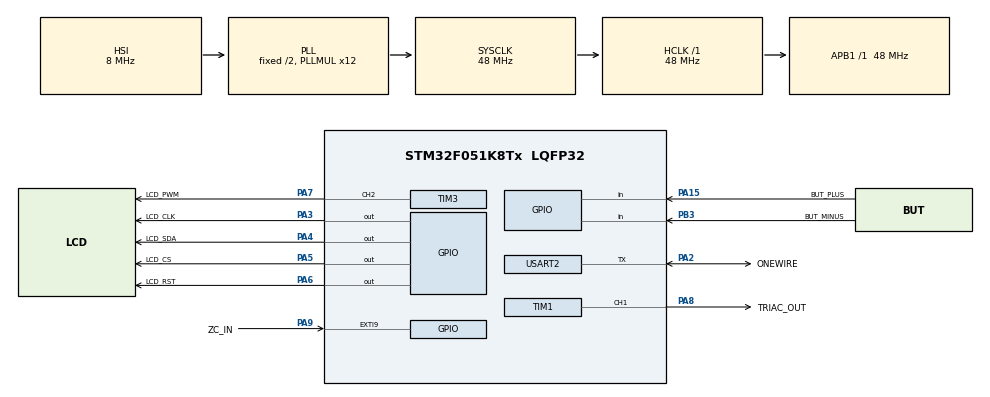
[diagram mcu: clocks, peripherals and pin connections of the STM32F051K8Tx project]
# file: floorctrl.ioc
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Dma.Request0=USART2_RX
Dma.Request1=USART2_TX
Dma.USART2_RX.0.Direction=DMA_PERIPH_TO_MEMORY
Dma.USART2_RX.0.Instance=DMA1_Channel5
Dma.USART2_RX.0.MemDataAlignment=DMA_MDATAALIGN_BYTE
Dma.USART2_RX.0.MemInc=DMA_MINC_ENABLE
Dma.USART2_RX.0.Mode=DMA_NORMAL
Dma.USART2_RX.0.PeriphDataAlignment=DMA_PDATAALIGN_BYTE
Dma.USART2_RX.0.PeriphInc=DMA_PINC_DISABLE
Dma.USART2_RX.0.Priority=DMA_PRIORITY_LOW
Dma.USART2_TX.1.Direction=DMA_MEMORY_TO_PERIPH
Dma.USART2_TX.1.Instance=DMA1_Channel4
Dma.USART2_TX.1.MemDataAlignment=DMA_MDATAALIGN_BYTE
Dma.USART2_TX.1.MemInc=DMA_MINC_ENABLE
Dma.USART2_TX.1.Mode=DMA_NORMAL
Dma.USART2_TX.1.PeriphDataAlignment=DMA_PDATAALIGN_BYTE
Dma.USART2_TX.1.PeriphInc=DMA_PINC_DISABLE
Dma.USART2_TX.1.Priority=DMA_PRIORITY_LOW
FREERTOS.Tasks01=defaultTask,0,128,StartDefaultTask,Default,NULL
FREERTOS.configTOTAL_HEAP_SIZE=5000
Mcu.Family=STM32F0
Mcu.Name=STM32F051K8Tx
Mcu.Package=LQFP32
NVIC.DMA1_Channel4_5_IRQn=true\:3\:0\:false\:false\:true\:true\:false
NVIC.EXTI4_15_IRQn=true\:3\:0\:false\:false\:true\:true\:true
PA13.Mode=Serial_Wire
PA13.Signal=SYS_SWDIO
PA14.Mode=Serial_Wire
PA14.Signal=SYS_SWCLK
PA15.GPIO_Label=BUT_PLUS
PA15.GPIO_PuPd=GPIO_PULLUP
PA15.Signal=GPIO_Input
PA2.GPIO_Label=ONEWIRE
PA2.Mode=Half_duplex(single_wire_mode)
PA2.Signal=USART2_TX
PA3.GPIO_Label=LCD_CLK
PA3.Signal=GPIO_Output
PA4.GPIO_Label=LCD_SDA
PA4.Signal=GPIO_Output
PA5.GPIO_Label=LCD_CS
PA5.Signal=GPIO_Output
PA6.GPIO_Label=LCD_RST
PA6.Signal=GPIO_Output
PA7.GPIO_Label=LCD_PWM
PA7.Signal=S_TIM3_CH2
PA8.GPIO_Label=TRIAC_OUT
PA8.Signal=S_TIM1_CH1
PA9.GPIO_Label=ZC_IN
PA9.GPIO_PuPd=GPIO_PULLUP
PA9.Signal=GPXTI9
PB3.GPIO_Label=BUT_MINUS
PB3.GPIO_PuPd=GPIO_PULLUP
PB3.Signal=GPIO_Input
ProjectManager.HeapSize=0x200
ProjectManager.StackSize=0x400
ProjectManager.TargetToolchain=EWARM
RCC.AHBFreq_Value=48000000
RCC.APB1Freq_Value=48000000
RCC.APB1TimFreq_Value=48000000
RCC.HCLKFreq_Value=48000000
RCC.PLLMUL=RCC_PLL_MUL12
RCC.SYSCLKFreq_VALUE=48000000
RCC.SYSCLKSource=RCC_SYSCLKSOURCE_PLLCLK
SH.S_TIM1_CH1.0=TIM1_CH1,PWM Generation1 CH1
SH.S_TIM3_CH2.0=TIM3_CH2,PWM Generation2 CH2
TIM1.AutoReloadPreload=TIM_AUTORELOAD_PRELOAD_ENABLE
TIM1.Channel-PWM\ Generation1\ CH1=TIM_CHANNEL_1
TIM1.Period=11000
TIM1.Prescaler=48
TIM3.Channel-PWM\ Generation2\ CH2=TIM_CHANNEL_2
TIM3.Period=256
TIM3.Prescaler=48
TIM3.Pulse-PWM\ Generation2\ CH2=100
USART2.BaudRate=9600
USART2.VirtualMode-Half_duplex(single_wire_mode)=VM_ASYNC
VP_FREERTOS_VS_ENABLE.Mode=Enabled
VP_IWDG_VS_IWDG.Mode=IWDG_Activate
VP_TIM1_VS_ClockSourceINT.Mode=Internal
VP_TIM3_VS_ClockSourceINT.Mode=Internal
board=floorctrl

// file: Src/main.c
/**
  ******************************************************************************
  * @file           : main.c
  * @brief          : Main program body
  ******************************************************************************
  * This notice applies to any and all portions of this file
  * that are not between comment pairs USER CODE BEGIN and
  * USER CODE END. Other portions of this file, whether
  * inserted by the user or by software development tools
  * are owned by their respective copyright owners.
  *
  * Copyright (c) 2018 STMicroelectronics International N.V.
  * All rights reserved.
  *
  * Redistribution and use in source and binary forms, with or without
  * modification, are permitted, provided that the following conditions are met:
  *
  * 1. Redistribution of source code must retain the above copyright notice,
  *    this list of conditions and the following disclaimer.
  * 2. Redistributions in binary form must reproduce the above copyright notice,
  *    this list of conditions and the following disclaimer in the documentation
  *    and/or other materials provided with the distribution.
  * 3. Neither the name of STMicroelectronics nor the names of other
  *    contributors to this software may be used to endorse or promote products
  *    derived from this software without specific written permission.
  * 4. This software, including modifications and/or derivative works of this
  *    software, must execute solely and exclusively on microcontroller or
  *    microprocessor devices manufactured by or for STMicroelectronics.
  * 5. Redistribution and use of this software other than as permitted under
  *    this license is void and will automatically terminate your rights under
  *    this license.
  *
  * THIS SOFTWARE IS PROVIDED BY STMICROELECTRONICS AND CONTRIBUTORS "AS IS"
  * AND ANY EXPRESS, IMPLIED OR STATUTORY WARRANTIES, INCLUDING, BUT NOT
  * LIMITED TO, THE IMPLIED WARRANTIES OF MERCHANTABILITY, FITNESS FOR A
  * PARTICULAR PURPOSE AND NON-INFRINGEMENT OF THIRD PARTY INTELLECTUAL PROPERTY
  * RIGHTS ARE DISCLAIMED TO THE FULLEST EXTENT PERMITTED BY LAW. IN NO EVENT
  * SHALL STMICROELECTRONICS OR CONTRIBUTORS BE LIABLE FOR ANY DIRECT, INDIRECT,
  * INCIDENTAL, SPECIAL, EXEMPLARY, OR CONSEQUENTIAL DAMAGES (INCLUDING, BUT NOT
  * LIMITED TO, PROCUREMENT OF SUBSTITUTE GOODS OR SERVICES; LOSS OF USE, DATA,
  * OR PROFITS; OR BUSINESS INTERRUPTION) HOWEVER CAUSED AND ON ANY THEORY OF
  * LIABILITY, WHETHER IN CONTRACT, STRICT LIABILITY, OR TORT (INCLUDING
  * NEGLIGENCE OR OTHERWISE) ARISING IN ANY WAY OUT OF THE USE OF THIS SOFTWARE,
  * EVEN IF ADVISED OF THE POSSIBILITY OF SUCH DAMAGE.
  *
  ******************************************************************************
  */
#include "main.h"
#include "stm32f0xx_hal.h"
#include "cmsis_os.h"

/* USER CODE BEGIN Includes */
#include "onewire.h"
#include "lcd-nokia1100.h"
#include "eeprom.h"
#include "PID.h"
#include "driverButton.h"
#include "math.h"
#include "stdlib.h"
/* USER CODE END Includes */

IWDG_HandleTypeDef hiwdg;

TIM_HandleTypeDef htim1;
TIM_HandleTypeDef htim3;

UART_HandleTypeDef huart2;
DMA_HandleTypeDef hdma_usart2_rx;
DMA_HandleTypeDef hdma_usart2_tx;

osThreadId defaultTaskHandle;

/* USER CODE BEGIN PV */
/* Private variables ---------------------------------------------------------*/
osThreadId startpwmdemo;
osThreadId interfacetask;
osThreadId displaytask;
/* USER CODE END PV */

void SystemClock_Config(void);
static void MX_GPIO_Init(void);
static void MX_DMA_Init(void);
static void MX_TIM1_Init(void);
static void MX_USART2_UART_Init(void);
static void MX_TIM3_Init(void);
static void MX_IWDG_Init(void);
void StartDefaultTask(void const * argument);
void HAL_TIM_MspPostInit(TIM_HandleTypeDef *htim);

/* USER CODE BEGIN PFP */
/* Private function prototypes -----------------------------------------------*/
__IO uint32_t Triac_angle = 3000;
 float Temperature = 255.0f;
 float Power = 0;
 float Setpoint = 20.0;
 uint8_t nErrors = 0xFF;
 uint8_t Standby = 1;

uint16_t eeSetpoint;
uint16_t eeStandby;

uint16_t VirtAddVarTab[NB_OF_VAR] = {0x5555, 0x6666, 0x7777};
uint16_t VarDataTab[NB_OF_VAR] = {0, 0, 0};
uint16_t VarValue = 0;

// PID controllers
struct pid_controller pidctrl;
pid_t pid = 0;
/* USER CODE END PFP */

/* USER CODE BEGIN 0 */
void StartPwmDemo(void const * argument);
void InterfaceTask (void const * argument);
void DisplayTask(void const * argument);

#define LOWER_LIMIT 0
void HAL_GPIO_EXTI_Callback(uint16_t GPIO_Pin)
{

  if(GPIO_Pin== GPIO_PIN_9)
  {

  __HAL_TIM_SET_COUNTER(&htim1, Triac_angle);

  if (Triac_angle == 900)
    __HAL_TIM_SET_COMPARE(&htim1, TIM_CHANNEL_1, 0);
  else
    __HAL_TIM_SET_COMPARE(&htim1, TIM_CHANNEL_1, 50);

  }

}
/* USER CODE END 0 */

int main(void)
{

  /* MCU Configuration----------------------------------------------------------*/

  /* Reset of all peripherals, Initializes the Flash interface and the Systick. */
  HAL_Init();

  /* USER CODE BEGIN Init */
  HAL_FLASH_Unlock();
  /* EEPROM Init */
  EE_Init();

  EE_ReadVariable(VirtAddVarTab[0], &eeSetpoint);
  EE_ReadVariable(VirtAddVarTab[1], &eeStandby);

  if (eeSetpoint > 15 && eeSetpoint < 26)
  {
    Setpoint = eeSetpoint;
  } else
  {
    EE_WriteVariable(VirtAddVarTab[0], 20);
  }

  if (eeStandby > 1)
  {
    EE_WriteVariable(VirtAddVarTab[1], 0);
  } else
  {
    //Standby = eeStandby;
  }

  /* USER CODE END Init */

  /* Configure the system clock */
  SystemClock_Config();

  /* Initialize all configured peripherals */
  MX_GPIO_Init();
  MX_DMA_Init();
  MX_TIM1_Init();
  MX_USART2_UART_Init();
  MX_TIM3_Init();
  MX_IWDG_Init();
  /* USER CODE BEGIN 2 */
  HAL_TIM_Base_Start(&htim1);
  HAL_TIM_PWM_Start(&htim1, TIM_CHANNEL_1);

  HAL_TIM_Base_Start(&htim3);
  HAL_TIM_PWM_Start(&htim3, TIM_CHANNEL_2);

  OW_Init();
  /* USER CODE END 2 */

  /* Create the thread(s) */
  /* definition and creation of defaultTask */
  osThreadDef(defaultTask, StartDefaultTask, osPriorityNormal, 0, 128);
  defaultTaskHandle = osThreadCreate(osThread(defaultTask), NULL);

  /* USER CODE BEGIN RTOS_THREADS */
  /* add threads, ... */
  osThreadDef(startpwmDemo, StartPwmDemo, osPriorityNormal, 0, 128);
  startpwmdemo = osThreadCreate(osThread(startpwmDemo), NULL);

  initButton();

  osThreadDef(interfaceTask, InterfaceTask, osPriorityNormal, 0, 128);
  interfacetask = osThreadCreate(osThread(interfaceTask), NULL);

  osThreadDef(displayTask, DisplayTask, osPriorityLow, 0, 256);
  displaytask = osThreadCreate(osThread(displayTask), NULL);
  /* USER CODE END RTOS_THREADS */

  /* Start scheduler */
  osKernelStart();

  /* We should never get here as control is now taken by the scheduler */

  /* Infinite loop */
  while (1)
  {

  }

}

void SystemClock_Config(void)
{

  RCC_OscInitTypeDef RCC_OscInitStruct;
  RCC_ClkInitTypeDef RCC_ClkInitStruct;

    /**Initializes the CPU, AHB and APB busses clocks
    */
  RCC_OscInitStruct.OscillatorType = RCC_OSCILLATORTYPE_HSI|RCC_OSCILLATORTYPE_LSI;
  RCC_OscInitStruct.HSIState = RCC_HSI_ON;
  RCC_OscInitStruct.HSICalibrationValue = 16;
  RCC_OscInitStruct.LSIState = RCC_LSI_ON;
  RCC_OscInitStruct.PLL.PLLState = RCC_PLL_ON;
  RCC_OscInitStruct.PLL.PLLSource = RCC_PLLSOURCE_HSI;
  RCC_OscInitStruct.PLL.PLLMUL = RCC_PLL_MUL12;
  RCC_OscInitStruct.PLL.PREDIV = RCC_PREDIV_DIV1;
  if (HAL_RCC_OscConfig(&RCC_OscInitStruct) != HAL_OK)
  {
    _Error_Handler(__FILE__, __LINE__);
  }

    /**Initializes the CPU, AHB and APB busses clocks
    */
  RCC_ClkInitStruct.ClockType = RCC_CLOCKTYPE_HCLK|RCC_CLOCKTYPE_SYSCLK
                              |RCC_CLOCKTYPE_PCLK1;
  RCC_ClkInitStruct.SYSCLKSource = RCC_SYSCLKSOURCE_PLLCLK;
  RCC_ClkInitStruct.AHBCLKDivider = RCC_SYSCLK_DIV1;
  RCC_ClkInitStruct.APB1CLKDivider = RCC_HCLK_DIV1;

  if (HAL_RCC_ClockConfig(&RCC_ClkInitStruct, FLASH_LATENCY_1) != HAL_OK)
  {
    _Error_Handler(__FILE__, __LINE__);
  }

    /**Configure the Systick interrupt time
    */
  HAL_SYSTICK_Config(HAL_RCC_GetHCLKFreq()/1000);

    /**Configure the Systick
    */
  HAL_SYSTICK_CLKSourceConfig(SYSTICK_CLKSOURCE_HCLK);

  /* SysTick_IRQn interrupt configuration */
  HAL_NVIC_SetPriority(SysTick_IRQn, 3, 0);
}

/* IWDG init function */
static void MX_IWDG_Init(void)
{

  hiwdg.Instance = IWDG;
  hiwdg.Init.Prescaler = IWDG_PRESCALER_128;
  hiwdg.Init.Window = 4095;
  hiwdg.Init.Reload = 4095;
  if (HAL_IWDG_Init(&hiwdg) != HAL_OK)
  {
    _Error_Handler(__FILE__, __LINE__);
  }

}

/* TIM1 init function */
static void MX_TIM1_Init(void)
{

  TIM_ClockConfigTypeDef sClockSourceConfig;
  TIM_MasterConfigTypeDef sMasterConfig;
  TIM_OC_InitTypeDef sConfigOC;
  TIM_BreakDeadTimeConfigTypeDef sBreakDeadTimeConfig;

  htim1.Instance = TIM1;
  htim1.Init.Prescaler = 48;
  htim1.Init.CounterMode = TIM_COUNTERMODE_UP;
  htim1.Init.Period = 11000;
  htim1.Init.ClockDivision = TIM_CLOCKDIVISION_DIV1;
  htim1.Init.RepetitionCounter = 0;
  htim1.Init.AutoReloadPreload = TIM_AUTORELOAD_PRELOAD_ENABLE;
  if (HAL_TIM_Base_Init(&htim1) != HAL_OK)
  {
    _Error_Handler(__FILE__, __LINE__);
  }

  sClockSourceConfig.ClockSource = TIM_CLOCKSOURCE_INTERNAL;
  if (HAL_TIM_ConfigClockSource(&htim1, &sClockSourceConfig) != HAL_OK)
  {
    _Error_Handler(__FILE__, __LINE__);
  }

  if (HAL_TIM_PWM_Init(&htim1) != HAL_OK)
  {
    _Error_Handler(__FILE__, __LINE__);
  }

  sMasterConfig.MasterOutputTrigger = TIM_TRGO_RESET;
  sMasterConfig.MasterSlaveMode = TIM_MASTERSLAVEMODE_DISABLE;
  if (HAL_TIMEx_MasterConfigSynchronization(&htim1, &sMasterConfig) != HAL_OK)
  {
    _Error_Handler(__FILE__, __LINE__);
  }

  sConfigOC.OCMode = TIM_OCMODE_PWM1;
  sConfigOC.Pulse = 0;
  sConfigOC.OCPolarity = TIM_OCPOLARITY_HIGH;
  sConfigOC.OCNPolarity = TIM_OCNPOLARITY_HIGH;
  sConfigOC.OCFastMode = TIM_OCFAST_DISABLE;
  sConfigOC.OCIdleState = TIM_OCIDLESTATE_RESET;
  sConfigOC.OCNIdleState = TIM_OCNIDLESTATE_RESET;
  if (HAL_TIM_PWM_ConfigChannel(&htim1, &sConfigOC, TIM_CHANNEL_1) != HAL_OK)
  {
    _Error_Handler(__FILE__, __LINE__);
  }

  sBreakDeadTimeConfig.OffStateRunMode = TIM_OSSR_DISABLE;
  sBreakDeadTimeConfig.OffStateIDLEMode = TIM_OSSI_DISABLE;
  sBreakDeadTimeConfig.LockLevel = TIM_LOCKLEVEL_OFF;
  sBreakDeadTimeConfig.DeadTime = 0;
  sBreakDeadTimeConfig.BreakState = TIM_BREAK_DISABLE;
  sBreakDeadTimeConfig.BreakPolarity = TIM_BREAKPOLARITY_HIGH;
  sBreakDeadTimeConfig.AutomaticOutput = TIM_AUTOMATICOUTPUT_DISABLE;
  if (HAL_TIMEx_ConfigBreakDeadTime(&htim1, &sBreakDeadTimeConfig) != HAL_OK)
  {
    _Error_Handler(__FILE__, __LINE__);
  }

  HAL_TIM_MspPostInit(&htim1);

}

/* TIM3 init function */
static void MX_TIM3_Init(void)
{

  TIM_ClockConfigTypeDef sClockSourceConfig;
  TIM_MasterConfigTypeDef sMasterConfig;
  TIM_OC_InitTypeDef sConfigOC;

  htim3.Instance = TIM3;
  htim3.Init.Prescaler = 48;
  htim3.Init.CounterMode = TIM_COUNTERMODE_UP;
  htim3.Init.Period = 256;
  htim3.Init.ClockDivision = TIM_CLOCKDIVISION_DIV1;
  htim3.Init.AutoReloadPreload = TIM_AUTORELOAD_PRELOAD_DISABLE;
  if (HAL_TIM_Base_Init(&htim3) != HAL_OK)
  {
    _Error_Handler(__FILE__, __LINE__);
  }

  sClockSourceConfig.ClockSource = TIM_CLOCKSOURCE_INTERNAL;
  if (HAL_TIM_ConfigClockSource(&htim3, &sClockSourceConfig) != HAL_OK)
  {
    _Error_Handler(__FILE__, __LINE__);
  }

  if (HAL_TIM_PWM_Init(&htim3) != HAL_OK)
  {
    _Error_Handler(__FILE__, __LINE__);
  }

  sMasterConfig.MasterOutputTrigger = TIM_TRGO_RESET;
  sMasterConfig.MasterSlaveMode = TIM_MASTERSLAVEMODE_DISABLE;
  if (HAL_TIMEx_MasterConfigSynchronization(&htim3, &sMasterConfig) != HAL_OK)
  {
    _Error_Handler(__FILE__, __LINE__);
  }

  sConfigOC.OCMode = TIM_OCMODE_PWM1;
  sConfigOC.Pulse = 0;
  sConfigOC.OCPolarity = TIM_OCPOLARITY_HIGH;
  sConfigOC.OCFastMode = TIM_OCFAST_DISABLE;
  if (HAL_TIM_PWM_ConfigChannel(&htim3, &sConfigOC, TIM_CHANNEL_2) != HAL_OK)
  {
    _Error_Handler(__FILE__, __LINE__);
  }

  HAL_TIM_MspPostInit(&htim3);

}

/* USART2 init function */
static void MX_USART2_UART_Init(void)
{

  huart2.Instance = USART2;
  huart2.Init.BaudRate = 9600;
  huart2.Init.WordLength = UART_WORDLENGTH_8B;
  huart2.Init.StopBits = UART_STOPBITS_1;
  huart2.Init.Parity = UART_PARITY_NONE;
  huart2.Init.Mode = UART_MODE_TX_RX;
  huart2.Init.HwFlowCtl = UART_HWCONTROL_NONE;
  huart2.Init.OverSampling = UART_OVERSAMPLING_16;
  huart2.Init.OneBitSampling = UART_ONE_BIT_SAMPLE_DISABLE;
  huart2.AdvancedInit.AdvFeatureInit = UART_ADVFEATURE_NO_INIT;
  if (HAL_HalfDuplex_Init(&huart2) != HAL_OK)
  {
    _Error_Handler(__FILE__, __LINE__);
  }

}

static void MX_DMA_Init(void)
{
  /* DMA controller clock enable */
  __HAL_RCC_DMA1_CLK_ENABLE();

  /* DMA interrupt init */
  /* DMA1_Channel4_5_IRQn interrupt configuration */
  HAL_NVIC_SetPriority(DMA1_Channel4_5_IRQn, 3, 0);
  HAL_NVIC_EnableIRQ(DMA1_Channel4_5_IRQn);

}

/** Configure pins as
        * Analog
        * Input
        * Output
        * EVENT_OUT
        * EXTI
*/
static void MX_GPIO_Init(void)
{

  GPIO_InitTypeDef GPIO_InitStruct;

  /* GPIO Ports Clock Enable */
  __HAL_RCC_GPIOA_CLK_ENABLE();
  __HAL_RCC_GPIOB_CLK_ENABLE();

  /*Configure GPIO pin Output Level */
  HAL_GPIO_WritePin(GPIOA, LCD_CLK_Pin|LCD_SDA_Pin|LCD_CS_Pin|LCD_RST_Pin, GPIO_PIN_SET);

  /*Configure GPIO pins : LCD_CLK_Pin LCD_SDA_Pin LCD_CS_Pin LCD_RST_Pin */
  GPIO_InitStruct.Pin = LCD_CLK_Pin|LCD_SDA_Pin|LCD_CS_Pin|LCD_RST_Pin;
  GPIO_InitStruct.Mode = GPIO_MODE_OUTPUT_PP;
  GPIO_InitStruct.Pull = GPIO_NOPULL;
  GPIO_InitStruct.Speed = GPIO_SPEED_FREQ_LOW;
  HAL_GPIO_Init(GPIOA, &GPIO_InitStruct);

  /*Configure GPIO pin : ZC_IN_Pin */
  GPIO_InitStruct.Pin = ZC_IN_Pin;
  GPIO_InitStruct.Mode = GPIO_MODE_IT_RISING;
  GPIO_InitStruct.Pull = GPIO_PULLUP;
  HAL_GPIO_Init(ZC_IN_GPIO_Port, &GPIO_InitStruct);

  /*Configure GPIO pin : BUT_PLUS_Pin */
  GPIO_InitStruct.Pin = BUT_PLUS_Pin;
  GPIO_InitStruct.Mode = GPIO_MODE_INPUT;
  GPIO_InitStruct.Pull = GPIO_PULLUP;
  HAL_GPIO_Init(BUT_PLUS_GPIO_Port, &GPIO_InitStruct);

  /*Configure GPIO pin : BUT_MINUS_Pin */
  GPIO_InitStruct.Pin = BUT_MINUS_Pin;
  GPIO_InitStruct.Mode = GPIO_MODE_INPUT;
  GPIO_InitStruct.Pull = GPIO_PULLUP;
  HAL_GPIO_Init(BUT_MINUS_GPIO_Port, &GPIO_InitStruct);

  /* EXTI interrupt init*/
  HAL_NVIC_SetPriority(EXTI4_15_IRQn, 3, 0);
  HAL_NVIC_EnableIRQ(EXTI4_15_IRQn);

}

/* USER CODE BEGIN 4 */
const uint8_t troll[] =
{
0x00, 0x00, 0x00, 0x00, 0x00, 0x00, 0x00, 0x00, 0x00, 0x00, 0x00, 0x00, 0x00, 0x00, 0x00, 0x00,
0x00, 0x00, 0x00, 0x00, 0x00, 0x00, 0x00, 0x00, 0x80, 0x80, 0xC0, 0xC0, 0xC0, 0xC0, 0x60, 0x60,
0xE0, 0xE0, 0x60, 0xF0, 0xF0, 0xB0, 0xB0, 0xB0, 0xB0, 0xB0, 0xB0, 0x30, 0x70, 0x70, 0x70, 0x70,
0x70, 0x70, 0x70, 0x70, 0x50, 0x50, 0x50, 0x50, 0x10, 0xB0, 0xB0, 0x30, 0x30, 0x30, 0x30, 0x30,
0x30, 0x30, 0x30, 0x30, 0x60, 0xE0, 0xC0, 0x80, 0x00, 0x00, 0x00, 0x00, 0x00, 0x00, 0x00, 0x00,
0x00, 0x00, 0x00, 0x00, 0x00, 0x00, 0x00, 0x00, 0x00, 0x00, 0x00, 0x00, 0x00, 0x00, 0x00, 0x00,
0x00, 0x00, 0x00, 0x00, 0x00, 0x00, 0x00, 0x00, 0x00, 0x00, 0x00, 0x00, 0x00, 0x00, 0x00, 0x00,
0x00, 0xF0, 0xF8, 0x1C, 0x0E, 0x06, 0x03, 0x03, 0x01, 0x41, 0x22, 0x12, 0x10, 0x02, 0x0A, 0x0A,
0x0A, 0x0A, 0x0A, 0x0A, 0x52, 0x12, 0x02, 0x02, 0x02, 0x02, 0x02, 0x02, 0x00, 0x01, 0x61, 0x11,
0x01, 0x01, 0x05, 0x05, 0x05, 0x85, 0x81, 0x8A, 0x8A, 0x8A, 0x04, 0x15, 0x19, 0x2A, 0x52, 0x14,
0x28, 0x48, 0x10, 0x00, 0x00, 0x00, 0x01, 0x03, 0x0F, 0x3C, 0xF8, 0xC0, 0x00, 0x00, 0x00, 0x00,
0x00, 0x00, 0x00, 0x00, 0x00, 0x00, 0x00, 0x00, 0x00, 0x00, 0x00, 0x00, 0x00, 0x00, 0x00, 0x00,
0x00, 0x00, 0x00, 0x00, 0x00, 0x00, 0x00, 0x00, 0x00, 0x00, 0x00, 0x80, 0xE0, 0xF0, 0xB8, 0x5C,
0xAF, 0x53, 0x51, 0x80, 0x80, 0x80, 0x88, 0x88, 0x80, 0x00, 0x0C, 0x1C, 0x1E, 0x1E, 0x1E, 0x1E,
0x1E, 0x1C, 0x3C, 0x3C, 0xF8, 0xF0, 0x30, 0x30, 0x10, 0x00, 0x00, 0x00, 0x00, 0x18, 0x3C, 0x7E,
0x66, 0x33, 0x33, 0x3B, 0x19, 0x1F, 0x1F, 0x3F, 0xFF, 0xCF, 0x9F, 0x9F, 0x9F, 0x1E, 0x1C, 0x98,
0x80, 0x88, 0xD8, 0xC8, 0xE0, 0x60, 0x60, 0x60, 0x68, 0x68, 0xC8, 0xCB, 0x9F, 0x1E, 0x3C, 0x18,
0x30, 0xE0, 0xC0, 0x80, 0x00, 0x00, 0x00, 0x00, 0x00, 0x00, 0x00, 0x00, 0x00, 0x00, 0x00, 0x00,
0x00, 0x00, 0x00, 0x00, 0x00, 0x00, 0x00, 0x00, 0x00, 0x00, 0x00, 0x03, 0x1F, 0x7F, 0xFF, 0xE0,
0x4F, 0x50, 0x81, 0x01, 0xC1, 0xF1, 0xFD, 0xF9, 0x83, 0x07, 0x07, 0x06, 0x47, 0x43, 0x20, 0x30,
0x70, 0x78, 0x7C, 0xCE, 0x87, 0x07, 0x00, 0x80, 0x00, 0x00, 0x40, 0x60, 0x60, 0x60, 0x68, 0x4C,
0x8C, 0xF8, 0xF8, 0x08, 0x10, 0x10, 0x90, 0x90, 0x90, 0xC0, 0xC1, 0xC1, 0xE1, 0xE1, 0xE1, 0xF1,
0x31, 0x39, 0x19, 0x1C, 0x8C, 0xCE, 0xFF, 0xFC, 0x18, 0x18, 0x30, 0x41, 0x7F, 0x3F, 0x00, 0xC0,
0x00, 0x80, 0xFF, 0x7F, 0x00, 0x00, 0x00, 0x00, 0x00, 0x00, 0x00, 0x00, 0x00, 0x00, 0x00, 0x00,
0x00, 0x00, 0x00, 0x00, 0x00, 0x00, 0x00, 0x00, 0x00, 0x00, 0x00, 0x00, 0x00, 0x00, 0x01, 0x3F,
0xFE, 0x00, 0x00, 0x18, 0xFF, 0xFF, 0xFF, 0xE3, 0xFF, 0xFF, 0xC7, 0xC6, 0xFE, 0xFC, 0xCC, 0x8C,
0x8C, 0x8C, 0x98, 0xF9, 0xF9, 0x9B, 0x9B, 0x99, 0x8C, 0x8C, 0xFC, 0xFC, 0x8C, 0x8C, 0x8C, 0x86,
0xC6, 0xC6, 0xC6, 0xFF, 0xFF, 0xE3, 0xF1, 0xF1, 0x71, 0x71, 0x38, 0x38, 0x3C, 0x7E, 0xFF, 0x9F,
0xC6, 0xE6, 0x77, 0x3F, 0x0F, 0x07, 0x01, 0x00, 0x00, 0x00, 0x00, 0xC0, 0xF0, 0x38, 0x1D, 0x0E,
0x07, 0x03, 0x01, 0x00, 0x00, 0x00, 0x00, 0x00, 0x00, 0x00, 0x00, 0x00, 0x00, 0x00, 0x00, 0x00,
0x00, 0x00, 0x00, 0x00, 0x00, 0x00, 0x00, 0x00, 0x00, 0x00, 0x00, 0x00, 0x00, 0x00, 0x00, 0xFC,
0xFF, 0x00, 0x00, 0x00, 0x07, 0x3F, 0x7F, 0xFF, 0xFF, 0xD7, 0xDF, 0xFF, 0xEF, 0x8F, 0x9F, 0xFF,
0xEF, 0x8F, 0x0F, 0x1F, 0x7F, 0xFF, 0x0F, 0x0F, 0x0F, 0x07, 0x07, 0xFF, 0xFF, 0x87, 0x83, 0x83,
0x83, 0x81, 0x81, 0xC1, 0xC3, 0xCF, 0xFC, 0x70, 0x70, 0x30, 0x38, 0x9C, 0x8C, 0x4E, 0x47, 0x83,
0x81, 0xC0, 0x40, 0x00, 0x80, 0xC0, 0xE0, 0x60, 0x30, 0x1C, 0x0F, 0x07, 0x00, 0x00, 0x00, 0x00,
0x00, 0x00, 0x00, 0x00, 0x00, 0x00, 0x00, 0x00, 0x00, 0x00, 0x00, 0x00, 0x00, 0x00, 0x00, 0x00,
0x00, 0x00, 0x00, 0x00, 0x00, 0x00, 0x00, 0x00, 0x00, 0x00, 0x00, 0x00, 0x00, 0x00, 0xF8, 0xFF,
0x83, 0x00, 0x00, 0x0C, 0x20, 0x20, 0x40, 0x44, 0x88, 0x99, 0x91, 0x91, 0x81, 0xA1, 0xA1, 0x83,
0x03, 0x03, 0x0B, 0x0B, 0x0B, 0x0B, 0x0B, 0x03, 0x03, 0x03, 0x43, 0x43, 0x43, 0x43, 0x13, 0x31,
0x31, 0x21, 0x09, 0x19, 0x94, 0x94, 0xCE, 0xCA, 0x6A, 0x65, 0x35, 0x32, 0x1A, 0x1B, 0x0D, 0x0D,
0x06, 0x06, 0x03, 0x03, 0x01, 0x01, 0x00, 0x00, 0x00, 0x00, 0x00, 0x00, 0x00, 0x00, 0x00, 0x00,
0x00, 0x00, 0x00, 0x00, 0x00, 0x00, 0x00, 0x00, 0x00, 0x00, 0x00, 0x00, 0x00, 0x00, 0x00, 0x00,
0x00, 0x00, 0x00, 0x00, 0x00, 0x00, 0x00, 0x00, 0x00, 0x00, 0x00, 0x00, 0x00, 0x00, 0x00, 0x03,
0x07, 0x0E, 0x1C, 0x18, 0x38, 0x30, 0x30, 0x30, 0x70, 0x60, 0x60, 0x60, 0x60, 0x60, 0x60, 0x60,
0x30, 0x30, 0x30, 0x30, 0x30, 0x10, 0x18, 0x18, 0x18, 0x1C, 0x0C, 0x0C, 0x0C, 0x0E, 0x0E, 0x06,
0x06, 0x06, 0x03, 0x03, 0x01, 0x01, 0x00, 0x00, 0x00, 0x00, 0x00, 0x00, 0x00, 0x00, 0x00, 0x00,
0x00, 0x00, 0x00, 0x00, 0x00, 0x00, 0x00, 0x00, 0x00, 0x00, 0x00, 0x00, 0x00, 0x00, 0x00, 0x00,
0x00, 0x00, 0x00, 0x00, 0x00, 0x00, 0x00, 0x00, 0x00, 0x00, 0x00, 0x00, 0x00, 0x00, 0x00, 0x00,
0x00, 0x00, 0x00, 0xFE, 0x00, 0x00, 0x00, 0xFE, 0x00, 0x00, 0x00, 0xFE,
};

uint32_t status=0;
float temp=0;
char str[16];

union {
   uint16_t integer;
   uint8_t  raw[2];
} data;

int s,m,e;

//void update_temp(void)
//{
//  //float spd  = 88.8;
//
//	if ((int)temp / 10 != 0)
//		lcd_digit48( 1, 1,(int)temp / 10);
//	else
//		lcd_null48(1, 1);
//
//	lcd_digit48(27, 1, (int)temp % 10);
//
//	lcd1100_gotoxy((FONT48_WIDTH)+4, 6); //dot
//	lcd1100_write(lcd1100_DATA, 0x78);
//	lcd1100_write(lcd1100_DATA, 0x78);
//	lcd1100_write(lcd1100_DATA, 0x78);
//	lcd1100_write(lcd1100_DATA, 0x78);
//
//	lcd_digit16((FONT48_WIDTH) + 5, 5,  (int)(temp*10.0) % 10);
//
//	//lcd1100_gotoxy((FONT48_WIDTH) + 6 + FONT16_WIDTH + 6, 6);
//}

long map(long x, long in_min, long in_max, long out_min, long out_max)
{
  return (x - in_min) * (out_max - out_min) / (in_max - in_min) + out_min;
}

void StartPwmDemo(void const * argument)
{

  for (;;) {

if (Standby == 0)
{
pid_compute(pid);
} else
{
  Power = 0;
}

Triac_angle = map ((int)Power, 0, 100, 3000, 9800);

osDelay(500);

}
}

void InterfaceTask (void const * argument)
{

  for (;;)
  {
        eventFuncButt = osMailGet(xMailFuncButt, 1000);

    if( eventFuncButt.status == osEventMail )
    {
      functButtTmp = *((StrFunctButt *)eventFuncButt.value.p);

       if (functButtTmp.typeNo[0] == PRESS_HOLD) {
               switch (functButtTmp.buttNo[0])
      {
        case BUT_MINUS:

          Standby = 1;
          Power = 0;

          eeStandby = Standby;

          EE_WriteVariable(VirtAddVarTab[1], eeStandby);

          break;

        case BUT_PLUS:
          Standby = 0;

          eeStandby = Standby;

          EE_WriteVariable(VirtAddVarTab[1], eeStandby);

          break;
      }
       }

       if (functButtTmp.typeNo[0] == PRESS_NONE) {
         switch (functButtTmp.buttNo[0])
      {
        case BUT_MINUS:
          break;
           case BUT_PLUS:
          break;
      }

       }

     if (functButtTmp.typeNo[0] == PRESS_SIMPLE) {
         switch (functButtTmp.buttNo[0])
      {
        case BUT_MINUS:

          Setpoint -= 1.0f;

          if (Setpoint < 10 ) Setpoint = 10;

          eeSetpoint = (int16_t)Setpoint;

          EE_WriteVariable(VirtAddVarTab[0], eeSetpoint);

          break;

        case BUT_PLUS:

          Setpoint += 1.0f;

          if (Setpoint > 26 ) Setpoint = 26;

          eeSetpoint = (int16_t)Setpoint;

          if (EE_WriteVariable(VirtAddVarTab[0], eeSetpoint) == PAGE_FULL) {
            //EE_Format();
          }

          break;
      }
       }

     if (functButtTmp.typeNo[0] == PRESS_DOUBLE) {
         switch (functButtTmp.buttNo[0])
      {
        case BUT_MINUS:
          Setpoint -= 2.0f;

          if (Setpoint < 10 ) Setpoint = 10;

          eeSetpoint = (int16_t)Setpoint;

          if (EE_WriteVariable(VirtAddVarTab[0], eeSetpoint) == PAGE_FULL) {
            //EE_Format();
          }

          break;

        case BUT_PLUS:
          Setpoint += 2.0f;

          if (Setpoint > 26 ) Setpoint = 26;

          eeSetpoint = (int16_t)Setpoint;

          if (EE_WriteVariable(VirtAddVarTab[0], eeSetpoint) == PAGE_FULL) {
            //EE_Format();
          }

          break;
      }
       }

    } else if( eventFuncButt.status == osErrorParameter )
      osDelay(2000);

  }
}

void DisplayTask(void const * argument)
{
lcd1100_pin_init();
lcd1100_init();
lcd1100_clear();

//update_spd();
__HAL_TIM_SET_COMPARE(&htim3, TIM_CHANNEL_2, 100);

lcd1100_fill_image((uint8_t*)troll);
lcd1100_gotoxy(11,7);
lcd1100_puts("v.1.2");
osDelay(2500);
lcd1100_clear();

lcd1100_gotoxy(1,1);
lcd1100_puts_big(4,8,"00");
lcd1100_gotoxy(9,4);
lcd1100_puts_big(2,4,".00");

//lcd1100_gotoxy(11,2);
//lcd1100_puts("HEAT");

lcd1100_gotoxy(11,0);
sprintf(str, "%.1f\r\n", Setpoint);
lcd1100_puts(str);

lcd1100_gotoxy(0,0);
lcd1100_puts("[       ]");

Standby = eeStandby;

  for (;;)
  {
    //lcd1100_clear();

    if (Temperature <= 99.0f  &&  Temperature >= -9.0f) {
                        sprintf(str, "%02d\r\n", (int)Temperature);
                        lcd1100_gotoxy(1,1);
                        lcd1100_puts_big(4,8,str);

                        sprintf(str, ".%02d\r\n", ((int)(Temperature*100)%100));
                        lcd1100_gotoxy(9,4);
                        lcd1100_puts_big(2,4, str);
    }

    else
    {
      lcd1100_gotoxy(1,1);
      lcd1100_puts_big(4,8,"--");
      lcd1100_gotoxy(9,4);
      lcd1100_puts_big(2,4,".--");
    }
                        lcd1100_gotoxy(0,0);
                             if (Power >=  0 && Power < 10)  lcd1100_puts("[       ]");
                        else if (Power >= 10 && Power < 20 ) lcd1100_puts("[=      ]");
                        else if (Power >= 20 && Power < 30 ) lcd1100_puts("[==     ]");
                        else if (Power >= 30 && Power < 40 ) lcd1100_puts("[===    ]");
                        else if (Power >= 40 && Power < 50 ) lcd1100_puts("[====   ]");
                        else if (Power >= 50 && Power < 70 ) lcd1100_puts("[=====  ]");
                        else if (Power >= 70 && Power < 90 ) lcd1100_puts("[====== ]");
                        else if (Power >= 90 && Power <= 100)lcd1100_puts("[=======]");

                        if (Standby == 1) {
                          lcd1100_gotoxy(11,2);
                          lcd1100_puts("OFF ");
                        }
                        else
                        {
                          lcd1100_gotoxy(11,2);
                          lcd1100_puts("HEAT");
                        }

                          lcd1100_gotoxy(11,0);
                          sprintf(str, "%.1f\r\n", Setpoint);
                          lcd1100_puts(str);

                        osDelay(500);

  }

}
/* USER CODE END 4 */

/* StartDefaultTask function */
void StartDefaultTask(void const * argument)
{
  /* USER CODE BEGIN 5 */

  //Load_User_Data();

status = OW_Scan((uint8_t*)str,2);

// Create PID controllers, set gains
pid = pid_create(&pidctrl, &Temperature, &Power, &Setpoint, 25, 5, 10);
// Set output limits
pid_limits(pid, 0, 100);
// Turn on PID
pid_auto(pid);

  /* Infinite loop */
  for(;;)
  {
    HAL_IWDG_Refresh(&hiwdg);

    OW_Send(OW_SEND_RESET, (uint8_t*)"\xcc\x44", 2, NULL, NULL, OW_NO_READ);

    _ow_power_pin();

    osDelay(2000);

    //if (br_pulse == 0) br_pulse = 100; else br_pulse = 0;

    //__HAL_TIM_SET_COMPARE(&htim3, TIM_CHANNEL_2, br_pulse);

    _ow_tx_pin();

    status=OW_Send(OW_SEND_RESET,(uint8_t*) "\xcc\xbe\xff\xff", 4, data.raw,2, 2);

                if (status==OW_OK)
		{
                        temp = data.integer*0.0625;

                        if (temp != 85.0f && temp <= 99.0f  &&  temp >= -9.0f) //85.0 result is not ready in sensor
                        {
                          nErrors = 0;
                          Temperature = temp;
                        } else
                        {
                          nErrors ++;
                        }

		}
                else
                {
                  nErrors ++;
                }

                if (nErrors > 10)
                {
                Standby = 1;
                Power = 0;
                Temperature = 255.0f;
                }

  }
  /* USER CODE END 5 */
}

void _Error_Handler(char *file, int line)
{
  while(1)
  {
  }
}

/************************ (C) COPYRIGHT STMicroelectronics *****END OF FILE****/
